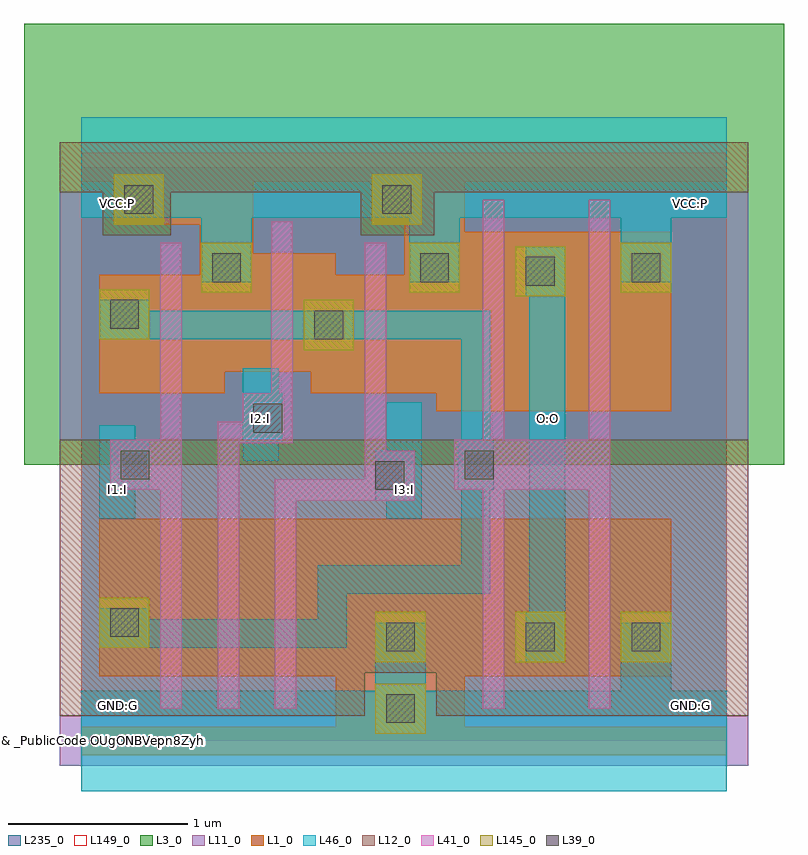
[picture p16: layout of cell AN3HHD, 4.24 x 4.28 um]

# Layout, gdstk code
from math import pi, radians
import gdstk
lib = gdstk.Library(unit=1e-6, precision=1e-09)
def R(c, l, rs):  # rectangles x0, y0, x1, y1
    for r in rs: c.add(gdstk.rectangle(r[:2], r[2:], *l))
def P(c, l, *ps):  # polygons
    for p in ps: c.add(gdstk.Polygon(p, *l))
L1_0 = (1, 0)
L3_0 = (3, 0)
L11_0 = (11, 0)
L12_0 = (12, 0)
L39_0 = (39, 0)
L41_0 = (41, 0)
L46_0 = (46, 0)
L145_0 = (145, 0)
L149_0 = (149, 0)
L235_0 = (235, 0)

c_pc = lib.new_cell('PC')
R(c_pc, L39_0, [(-0.08,-0.08,0.08,0.08)])
R(c_pc, L41_0, [(-0.14,-0.14,0.14,0.14)])
R(c_pc, L46_0, [(-0.08,-0.14,0.08,0.14)])

c_mc = lib.new_cell('MC')
R(c_mc, L39_0, [(-0.08,-0.08,0.08,0.08)])
R(c_mc, L46_0, [(-0.08,-0.14,0.08,0.14)])
R(c_mc, L145_0, [(-0.14,-0.14,0.14,0.14)])

ohlenmdghgf__41gum4xw0 = lib.new_cell('OHLENMDGHGF$$41Gum4XW0')
R(ohlenmdghgf__41gum4xw0, L1_0, [(0,-0.08,3.6,0.08), (1.64,0.08,1.92,0.32), (0.1,0.36,1.86,1.24), (0,3.12,3.6,3.28)])
P(ohlenmdghgf__41gum4xw0, L1_0, [(3.29,2.84),(2.14,2.84),(2.14,3.12),(1.62,3.12),(1.62,2.88),(1.8,2.88),(1.8,2.6),(1.42,2.6),(1.42,2.72),(0.96,2.72),(0.96,3.12),(0.18,3.12),(0.18,2.88),(0.66,2.88),(0.66,2.06),(1.28,2.06),(1.28,1.94),(1.98,1.94),(1.98,1.84),(3.29,1.84)],
  [(3.29,1.24),(1.86,1.24),(1.86,0.36),(1.42,0.36),(1.42,0.08),(2.14,0.08),(2.14,0.36),(3.29,0.36)],
  [(0.8,2.06),(0.66,2.06),(0.66,2.6),(0.1,2.6),(0.1,1.94),(0.8,1.94)])
R(ohlenmdghgf__41gum4xw0, L3_0, [(-0.32,1.54,3.92,4)])
R(ohlenmdghgf__41gum4xw0, L11_0, [(-0.12,-0.14,3.72,0.14), (-0.12,-0.14,3.72,0.14), (-0.12,-0.14,3.72,0.14), (1.58,0.14,1.98,0.38)])
P(ohlenmdghgf__41gum4xw0, L11_0, [(3.72,3.06),(1.97,3.06),(1.97,2.82),(1.56,2.82),(1.56,3.06),(0.5,3.06),(0.5,2.82),(0.12,2.82),(0.12,3.06),(-0.12,3.06),(-0.12,1.68),(3.72,1.68)])
P(ohlenmdghgf__41gum4xw0, L12_0, [(3.72,1.68),(-0.12,1.68),(-0.12,0.14),(1.58,0.14),(1.58,0.38),(1.98,0.38),(1.98,0.14),(3.72,0.14)],
  [(3.72,3.34),(-0.12,3.34),(-0.12,3.06),(0.12,3.06),(0.12,2.82),(0.5,2.82),(0.5,3.06),(1.56,3.06),(1.56,2.82),(1.97,2.82),(1.97,3.06),(3.72,3.06)])
R(ohlenmdghgf__41gum4xw0, L41_0, [(2.08,1.4,2.95,1.68)])
R(ohlenmdghgf__41gum4xw0, L46_0, [(1.64,0.26,1.92,0.66), (3.01,0.26,3.29,0.66), (2.1,1.4,2.3,1.68), (0.67,2.56,0.95,2.92), (1.83,2.56,2.11,2.92), (3.01,2.56,3.29,2.92)])
R(ohlenmdghgf__41gum4xw0, L149_0, [(0,0,3.6,3.2)])
R(ohlenmdghgf__41gum4xw0, L235_0, [(0,0,3.6,3.2), (0,0,3.6,3.2), (0,0,3.6,3.2), (0,0,3.6,3.2), (0,0,3.6,3.2), (0,0,3.6,3.2), (0,0,3.6,3.2), (0,0,3.6,3.2), (0,0,3.6,3.2), (0,0,3.6,3.2), (0,0,3.6,3.2), (0,0,3.6,3.2)])
ohlenmdghgf__41gum4xw0.add(gdstk.FlexPath([(2.3,0.18),(2.3,3.02)], 0.12, ends="flush", simple_path=True, layer=41, datatype=0))  # L41_0
ohlenmdghgf__41gum4xw0.add(gdstk.FlexPath([(0.5,0.18),(0.5,2.78)], 0.12, ends="flush", simple_path=True, layer=41, datatype=0))  # L41_0
ohlenmdghgf__41gum4xw0.add(gdstk.FlexPath([(1.12,2.9),(1.12,1.72),(0.82,1.72),(0.82,0.18)], 0.12, ends="flush", simple_path=True, layer=41, datatype=0))  # L41_0
ohlenmdghgf__41gum4xw0.add(gdstk.FlexPath([(1.64,2.78),(1.64,1.4),(1.14,1.4),(1.14,0.18)], 0.12, ends="flush", simple_path=True, layer=41, datatype=0))  # L41_0
ohlenmdghgf__41gum4xw0.add(gdstk.FlexPath([(2.89,0.18),(2.89,3.02)], 0.12, ends="flush", simple_path=True, layer=41, datatype=0))  # L41_0
ohlenmdghgf__41gum4xw0.add(gdstk.FlexPath([(0.2,0),(0.2,3.2)], 0, ends="flush", simple_path=True, layer=145, datatype=0))  # L145_0
ohlenmdghgf__41gum4xw0.add(gdstk.FlexPath([(0.6,0),(0.6,3.2)], 0, ends="flush", simple_path=True, layer=145, datatype=0))  # L145_0
ohlenmdghgf__41gum4xw0.add(gdstk.FlexPath([(1,0),(1,3.2)], 0, ends="flush", simple_path=True, layer=145, datatype=0))  # L145_0
ohlenmdghgf__41gum4xw0.add(gdstk.FlexPath([(1.4,0),(1.4,3.2)], 0, ends="flush", simple_path=True, layer=145, datatype=0))  # L145_0
ohlenmdghgf__41gum4xw0.add(gdstk.FlexPath([(1.8,0),(1.8,3.2)], 0, ends="flush", simple_path=True, layer=145, datatype=0))  # L145_0
ohlenmdghgf__41gum4xw0.add(gdstk.FlexPath([(2.2,0),(2.2,3.2)], 0, ends="flush", simple_path=True, layer=145, datatype=0))  # L145_0
ohlenmdghgf__41gum4xw0.add(gdstk.FlexPath([(2.6,0),(2.6,3.2)], 0, ends="flush", simple_path=True, layer=145, datatype=0))  # L145_0
ohlenmdghgf__41gum4xw0.add(gdstk.FlexPath([(3,0),(3,3.2)], 0, ends="flush", simple_path=True, layer=145, datatype=0))  # L145_0
ohlenmdghgf__41gum4xw0.add(gdstk.FlexPath([(3.4,0),(3.4,3.2)], 0, ends="flush", simple_path=True, layer=145, datatype=0))  # L145_0
ohlenmdghgf__41gum4xw0.add(gdstk.FlexPath([(0,0.2),(3.6,0.2)], 0, ends="flush", simple_path=True, layer=145, datatype=0))  # L145_0
ohlenmdghgf__41gum4xw0.add(gdstk.FlexPath([(0,0.6),(3.6,0.6)], 0, ends="flush", simple_path=True, layer=145, datatype=0))  # L145_0
ohlenmdghgf__41gum4xw0.add(gdstk.FlexPath([(0,1),(3.6,1)], 0, ends="flush", simple_path=True, layer=145, datatype=0))  # L145_0
ohlenmdghgf__41gum4xw0.add(gdstk.FlexPath([(0,1.4),(3.6,1.4)], 0, ends="flush", simple_path=True, layer=145, datatype=0))  # L145_0
ohlenmdghgf__41gum4xw0.add(gdstk.FlexPath([(0,1.8),(3.6,1.8)], 0, ends="flush", simple_path=True, layer=145, datatype=0))  # L145_0
ohlenmdghgf__41gum4xw0.add(gdstk.FlexPath([(0,2.2),(3.6,2.2)], 0, ends="flush", simple_path=True, layer=145, datatype=0))  # L145_0
ohlenmdghgf__41gum4xw0.add(gdstk.FlexPath([(0,2.6),(3.6,2.6)], 0, ends="flush", simple_path=True, layer=145, datatype=0))  # L145_0
ohlenmdghgf__41gum4xw0.add(gdstk.FlexPath([(0,3),(3.6,3)], 0, ends="flush", simple_path=True, layer=145, datatype=0))  # L145_0
ohlenmdghgf__41gum4xw0.add(gdstk.FlexPath([(0.1,2.32),(2.2,2.32),(2.2,0.9),(1.4,0.9),(1.4,0.6),(0.1,0.6)], 0.16, ends="flush", simple_path=True, layer=46, datatype=0))  # L46_0
ohlenmdghgf__41gum4xw0.add(gdstk.FlexPath([(2.6,0.44),(2.6,2.76)], 0.2, ends="flush", simple_path=True, layer=46, datatype=0))  # L46_0
ohlenmdghgf__41gum4xw0.add(gdstk.FlexPath([(0.2,1.24),(0.2,1.76)], 0.2, ends="flush", simple_path=True, layer=46, datatype=0))  # L46_0
ohlenmdghgf__41gum4xw0.add(gdstk.FlexPath([(1,1.56),(1,2.08)], 0.2, ends="flush", simple_path=True, layer=46, datatype=0))  # L46_0
ohlenmdghgf__41gum4xw0.add(gdstk.FlexPath([(1.8,1.24),(1.8,1.89)], 0.2, ends="flush", simple_path=True, layer=46, datatype=0))  # L46_0
ohlenmdghgf__41gum4xw0.add(gdstk.FlexPath([(0,3.2),(3.6,3.2)], 0.56, ends="flush", simple_path=True, layer=46, datatype=0))  # L46_0
ohlenmdghgf__41gum4xw0.add(gdstk.FlexPath([(0,0),(3.6,0)], 0.56, ends="flush", simple_path=True, layer=46, datatype=0))  # L46_0
r = gdstk.Reference(c_pc, (1.72,1.48)); r.repetition = gdstk.Repetition(1, 1, v1=(0.28,0), v2=(0,0.32)); ohlenmdghgf__41gum4xw0.add(r)
r = gdstk.Reference(c_pc, (0.3,1.54)); r.repetition = gdstk.Repetition(1, 1, v1=(0.28,0), v2=(0,0.32)); ohlenmdghgf__41gum4xw0.add(r)
r = gdstk.Reference(c_pc, (2.22,1.54)); r.repetition = gdstk.Repetition(1, 1, v1=(0.28,0), v2=(0,0.32)); ohlenmdghgf__41gum4xw0.add(r)
r = gdstk.Reference(c_pc, (1.04,1.8)); r.repetition = gdstk.Repetition(1, 1, v1=(0.28,0), v2=(0,0.32)); ohlenmdghgf__41gum4xw0.add(r)
r = gdstk.Reference(c_mc, (3.15,0.58), rotation=pi/2); r.repetition = gdstk.Repetition(1, 1, v1=(0,0.28), v2=(-0.32,0)); ohlenmdghgf__41gum4xw0.add(r)
r = gdstk.Reference(c_mc, (3.15,2.64), rotation=pi/2); r.repetition = gdstk.Repetition(1, 1, v1=(0,0.28), v2=(-0.32,0)); ohlenmdghgf__41gum4xw0.add(r)
r = gdstk.Reference(c_mc, (1.38,2.32), rotation=pi/2); r.repetition = gdstk.Repetition(1, 1, v1=(0,0.28), v2=(-0.32,0)); ohlenmdghgf__41gum4xw0.add(r)
r = gdstk.Reference(c_mc, (1.78,0.18), rotation=pi/2, x_reflection=True); r.repetition = gdstk.Repetition(1, 1, v1=(0,0.28), v2=(0.32,0)); ohlenmdghgf__41gum4xw0.add(r)
r = gdstk.Reference(c_mc, (1.76,3.02), rotation=pi/2); r.repetition = gdstk.Repetition(1, 1, v1=(0,0.28), v2=(-0.32,0)); ohlenmdghgf__41gum4xw0.add(r)
r = gdstk.Reference(c_mc, (0.32,3.02), rotation=pi/2); r.repetition = gdstk.Repetition(1, 1, v1=(0,0.28), v2=(-0.32,0)); ohlenmdghgf__41gum4xw0.add(r)
r = gdstk.Reference(c_mc, (0.81,2.64), rotation=pi/2); r.repetition = gdstk.Repetition(1, 1, v1=(0,0.28), v2=(-0.32,0)); ohlenmdghgf__41gum4xw0.add(r)
r = gdstk.Reference(c_mc, (0.24,2.38), rotation=pi/2); r.repetition = gdstk.Repetition(1, 1, v1=(0,0.28), v2=(-0.32,0)); ohlenmdghgf__41gum4xw0.add(r)
r = gdstk.Reference(c_mc, (1.97,2.64), rotation=pi/2); r.repetition = gdstk.Repetition(1, 1, v1=(0,0.28), v2=(-0.32,0)); ohlenmdghgf__41gum4xw0.add(r)
r = gdstk.Reference(c_mc, (1.78,0.58), rotation=pi/2); r.repetition = gdstk.Repetition(1, 1, v1=(0,0.28), v2=(-0.32,0)); ohlenmdghgf__41gum4xw0.add(r)
r = gdstk.Reference(c_mc, (2.56,0.58)); r.repetition = gdstk.Repetition(1, 1, v1=(0.28,0), v2=(0,0.32)); ohlenmdghgf__41gum4xw0.add(r)
r = gdstk.Reference(c_mc, (0.24,0.66), rotation=pi/2); r.repetition = gdstk.Repetition(1, 1, v1=(0,0.28), v2=(-0.32,0)); ohlenmdghgf__41gum4xw0.add(r)
r = gdstk.Reference(c_mc, (2.56,2.62)); r.repetition = gdstk.Repetition(1, 1, v1=(0.28,0), v2=(0,0.32)); ohlenmdghgf__41gum4xw0.add(r)
ohlenmdghgf__41gum4xw0.add(gdstk.Label('#Id:7JQJaQKD4XF6RXVVPbbFNLABMd9HZL2aK99JL0306AKC574O4A3EOSP8MXXWHY99T6WBH22210RAL9', (0.02,0.02), layer=147, texttype=0))
ohlenmdghgf__41gum4xw0.add(gdstk.Label('AN3HHD', (0,0), layer=144, texttype=0))
ohlenmdghgf__41gum4xw0.add(gdstk.Label('I2:I', (1,1.8), layer=101, texttype=0))
ohlenmdghgf__41gum4xw0.add(gdstk.Label('I3:I', (1.8,1.4), layer=101, texttype=0))
ohlenmdghgf__41gum4xw0.add(gdstk.Label('O:O', (2.6,1.8), layer=101, texttype=0))
ohlenmdghgf__41gum4xw0.add(gdstk.Label('I1:I', (0.2,1.4), layer=101, texttype=0))
ohlenmdghgf__41gum4xw0.add(gdstk.Label('GND:G', (3.4,0.2), layer=101, texttype=0))
ohlenmdghgf__41gum4xw0.add(gdstk.Label('GND:G', (0.2,0.2), layer=101, texttype=0))
ohlenmdghgf__41gum4xw0.add(gdstk.Label('VCC:P', (3.4,3), layer=101, texttype=0))
ohlenmdghgf__41gum4xw0.add(gdstk.Label('VCC:P', (0.2,3), layer=101, texttype=0))

an3hhd = lib.new_cell('AN3HHD')
R(an3hhd, L149_0, [(0,0,3.6,3.2)])
an3hhd.add(gdstk.Reference(ohlenmdghgf__41gum4xw0, (0,0)))
an3hhd.add(gdstk.Label('& _PublicCode OUgONBVepn8Zyhuhb7nzKSFGv0ozQ4p7', (0,0), layer=3, texttype=0))
an3hhd.add(gdstk.Label('& Metric 11.52', (0,0), layer=3, texttype=0))
an3hhd.add(gdstk.Label('& Version 2009Q1V3.0', (0,0), layer=3, texttype=0))
an3hhd.add(gdstk.Label('& Product FSC0H_D_GENERIC_CORE', (0,0), layer=3, texttype=0))
an3hhd.add(gdstk.Label('& Vendor Faraday_Technology_Corp.', (0,0), layer=3, texttype=0))
an3hhd.add(gdstk.Label('#Id:7JQJaQKD4XF6RXVVPbbFNLABMd9HZL2aK99JL0306AKC574O4A3EOSP8MXXWHY99T6WBH22210RAL9', (0.02,0.02), layer=147, texttype=0))
an3hhd.add(gdstk.Label('AN3HHD', (0,0), layer=144, texttype=0))
an3hhd.add(gdstk.Label('I2:I', (1,1.8), layer=101, texttype=0))
an3hhd.add(gdstk.Label('I3:I', (1.8,1.4), layer=101, texttype=0))
an3hhd.add(gdstk.Label('O:O', (2.6,1.8), layer=101, texttype=0))
an3hhd.add(gdstk.Label('I1:I', (0.2,1.4), layer=101, texttype=0))
an3hhd.add(gdstk.Label('GND:G', (3.4,0.2), layer=101, texttype=0))
an3hhd.add(gdstk.Label('GND:G', (0.2,0.2), layer=101, texttype=0))
an3hhd.add(gdstk.Label('VCC:P', (3.4,3), layer=101, texttype=0))
an3hhd.add(gdstk.Label('VCC:P', (0.2,3), layer=101, texttype=0))

lib.write_gds('AN3HHD.gds')
